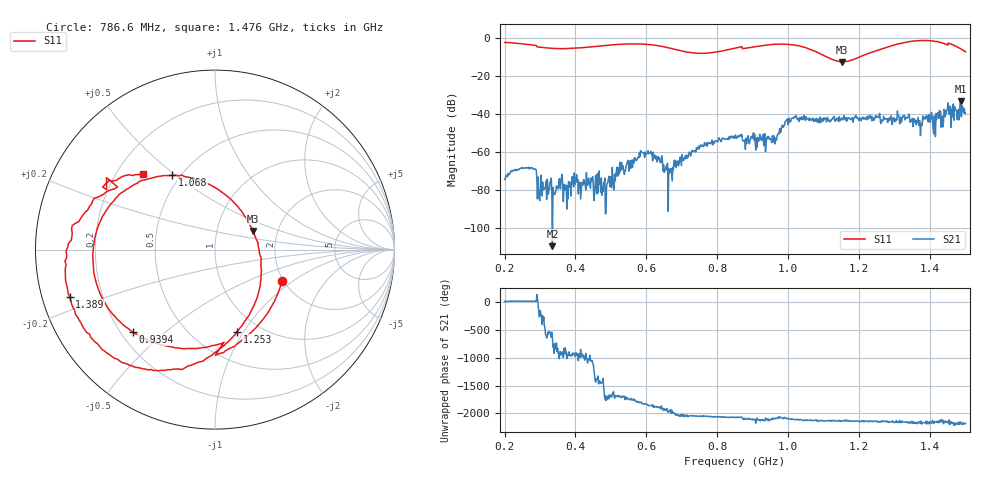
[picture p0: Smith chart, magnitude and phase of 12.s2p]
! NanoVNA-App
! Date: 2024-06-25 16:53:10
! Start: 200MHz Stop: 1.5GHz Points: 801
! S-Parameter data: F S11 S21 S12 S22
# Hz S RI R 50
!  Frequency  S11_Real  S11_Imag  S21_Real  S21_Imag  S12_Real  S12_Imag  S22_Real  S22_Imag
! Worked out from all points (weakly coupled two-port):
!   801 points, 200 MHz to 1.5 GHz, reference 50 ohm
!   highest |S21| = -33.14 dB at 1.487 GHz (marker M1); lowest = -109.3 dB at 334.9 MHz (marker M2)
!   lowest |S11| = -12.6 dB at 1.151 GHz (marker M3), VSWR 1.61, Z = 74.5 + j16.4 ohm
!   |S11| at or under -10 dB: 1.109 GHz to 1.202 GHz (92.77 MHz wide, 8.03 % of centre)
!   S12 and S22 are empty: the file has one direction only
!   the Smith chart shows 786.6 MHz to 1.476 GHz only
!   S11 on the Smith chart (normalised r, x): 786.6 MHz: 1.97, -0.82; 939.4 MHz: 0.25, -0.39; 1.068 GHz: 0.45, +0.49; 1.253 GHz: 0.79, -0.93; 1.389 GHz: 0.08, -0.16; 1.476 GHz: 0.31, +0.39
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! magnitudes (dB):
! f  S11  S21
! 200 MHz  -2.4  -74.3
! 273.1 MHz  -3.6  -68.1
! 299.1 MHz  -4.9  -85.4
! 334.9 MHz  -5.5  -109.3
! 417.8 MHz  -5.1  -76.1
! 481.1 MHz  -4.1  -76.6
! 586.8 MHz  -3.2  -60.2
! 633.9 MHz  -4.1  -62.3
! 668 MHz  -5.4  -69.9
! 786.6 MHz  -7.7  -55.4
! 850 MHz  -5.4  -52.3
! 939.4 MHz  -3.8  -52.7
! 1.016 GHz  -3.7  -41.6
! 1.068 GHz  -6.4  -43.2
! 1.151 GHz  -12.6  -42.0
! 1.253 GHz  -6.5  -41.5
! 1.284 GHz  -4.6  -43.5
! 1.389 GHz  -1.4  -40.8
! 1.414 GHz  -1.8  -44.5
! 1.476 GHz  -4.7  -39.3
! 1.487 GHz  -5.8  -33.1
! 1.5 GHz  -7.3  -39.5
